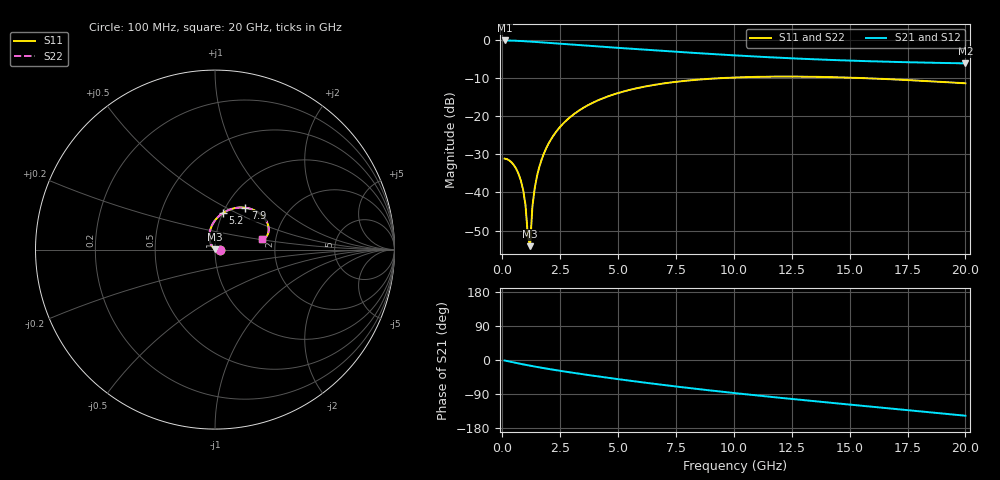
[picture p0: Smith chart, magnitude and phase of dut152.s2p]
! Created with skrf 1.9.0 (http://scikit-rf.org).
# GHz S RI R 50.0
!freq ReS11 ImS11 ReS21 ImS21 ReS12 ImS12 ReS22 ImS22
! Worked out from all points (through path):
!   200 points, 100 MHz to 20 GHz, reference 50 ohm
!   highest |S21| = -0.25 dB at 100 MHz (marker M1); lowest = -6.2 dB at 20 GHz (marker M2)
!   group delay of S21, straight-line fit = 19.3 ps
!   lowest |S11| = -54.1 dB at 1.2 GHz (marker M3), VSWR 1.00, Z = 49.9 + j0.174 ohm
!   |S11| at or under -10 dB: start of sweep to 9.797 GHz; 15.13 GHz to end of sweep
!   |S22| runs from -54.1 to -9.7 dB; largest |S21 - S12| = 1.9e-15
!   S11 on the Smith chart (normalised r, x): 100 MHz: 1.06, -0.00; 5.2 GHz: 1.00, +0.42; 7.9 GHz: 1.23, +0.63; 20 GHz: 1.69, +0.21
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0.1  0.0277 -0.000452  0.9716 -0.0231  0.9716 -0.0231  0.0277 -0.000452
0.5  0.0222 -0.00504  0.959 -0.1095  0.959 -0.1095  0.0222 -0.00504
0.7  0.0167 -0.00538  0.9477 -0.1506  0.9477 -0.1506  0.0167 -0.00538
0.8  0.0135 -0.00492  0.9409 -0.1703  0.9409 -0.1703  0.0135 -0.00492
0.9  0.01 -0.00398  0.9335 -0.1895  0.9335 -0.1895  0.01 -0.00398
1  0.00642 -0.00256  0.9255 -0.2082  0.9255 -0.2082  0.00642 -0.00256
1.1  0.00275 -0.000652  0.9171 -0.2262  0.9171 -0.2262  0.00275 -0.000652
1.2  -0.000947 0.00174  0.9082 -0.2436  0.9082 -0.2436  -0.000947 0.00174
1.3  -0.0046 0.0046  0.8989 -0.2604  0.8989 -0.2604  -0.0046 0.0046
1.4  -0.00815 0.00791  0.8892 -0.2766  0.8892 -0.2766  -0.00815 0.00791
1.6  -0.0148 0.0158  0.8692 -0.3073  0.8692 -0.3073  -0.0148 0.0158
1.8  -0.0205 0.0251  0.8483 -0.3358  0.8483 -0.3358  -0.0205 0.0251
2.1  -0.0271 0.0411  0.8161 -0.3748  0.8161 -0.3748  -0.0271 0.0411
2.5  -0.0314 0.0649  0.7721 -0.4208  0.7721 -0.4208  -0.0314 0.0649
3.5  -0.0209 0.1261  0.6608 -0.512  0.6608 -0.512  -0.0209 0.1261
5.2  0.043 0.203  0.4726 -0.6086  0.4726 -0.6086  0.043 0.203
6.8  0.1199 0.2327  0.3055 -0.6461  0.3055 -0.6461  0.1199 0.2327
7.9  0.1693 0.2332  0.2013 -0.649  0.2013 -0.649  0.1693 0.2332
10.1  0.2447 0.2046  0.0242 -0.6181  0.0242 -0.6181  0.2447 0.2046
13.4  0.2956 0.1364  -0.1725 -0.5246  -0.1725 -0.5246  0.2956 0.1364
16.7  0.2919 0.0807  -0.3119 -0.4053  -0.3119 -0.4053  0.2919 0.0807
20  0.2613 0.0579  -0.4091 -0.2654  -0.4091 -0.2654  0.2613 0.0579
